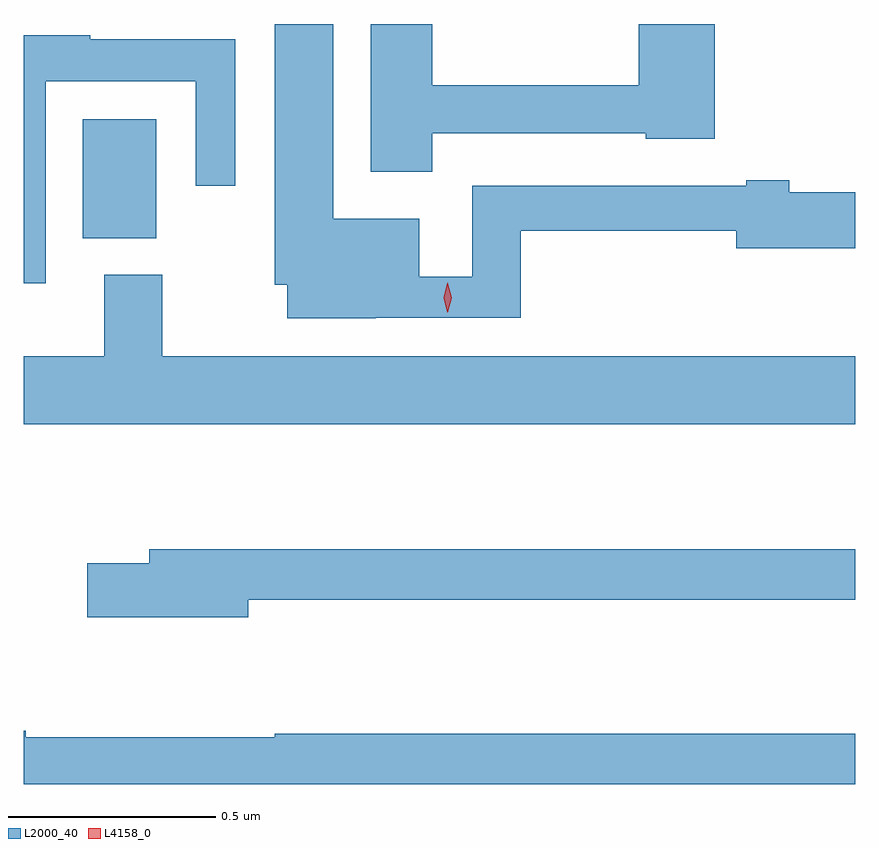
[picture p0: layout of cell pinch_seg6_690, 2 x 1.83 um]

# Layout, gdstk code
import gdstk
lib = gdstk.Library(unit=1e-6, precision=1e-09)
def R(c, l, rs):  # rectangles x0, y0, x1, y1
    for r in rs: c.add(gdstk.rectangle(r[:2], r[2:], *l))
def P(c, l, *ps):  # polygons
    for p in ps: c.add(gdstk.Polygon(p, *l))
L2000_40 = (2000, 40)
L4158_0 = (4158, 0)

pinch_seg6_690 = lib.new_cell('pinch_seg6_690')
R(pinch_seg6_690, L2000_40, [(468.578,922.475,468.754,922.762)])
P(pinch_seg6_690, L2000_40, [(469.283,922.284),(469.631,922.284),(469.631,922.494),(470.15,922.494),(470.15,922.451),(470.436,922.451),(470.436,922.586),(470.278,922.586),(470.278,922.615),(470.174,922.615),(470.174,922.602),(469.515,922.602),(469.515,922.383),(469.387,922.383),(469.387,922.522),(469.18,922.522),(469.18,922.991),(469.04,922.991),(469.04,922.364),(469.07,922.364),(469.07,922.283),(469.283,922.283)],
  [(469.418,922.728),(469.932,922.728),(469.932,922.715),(470.099,922.715),(470.099,922.991),(469.916,922.991),(469.916,922.844),(469.418,922.844),(469.418,922.991),(469.271,922.991),(469.271,922.635),(469.418,922.635)],
  [(468.489,922.853),(468.849,922.853),(468.849,922.602),(468.945,922.602),(468.945,922.954),(468.596,922.954),(468.596,922.964),(468.436,922.964),(468.436,922.367),(468.489,922.367)],
  [(470.436,922.192),(468.769,922.192),(468.769,922.387),(468.629,922.387),(468.629,922.192),(468.436,922.192),(468.436,922.028),(470.436,922.028)],
  [(468.976,921.606),(470.436,921.606),(470.436,921.727),(468.737,921.727),(468.737,921.693),(468.588,921.693),(468.588,921.563),(468.976,921.563)],
  [(470.436,921.283),(469.04,921.283),(469.04,921.275),(468.44,921.275),(468.44,921.29),(468.436,921.29),(468.436,921.162),(470.436,921.162)])
P(pinch_seg6_690, L4158_0, [(469.455,922.297),(469.446,922.332),(469.455,922.367),(469.456,922.368),(469.456,922.367),(469.466,922.332),(469.456,922.297),(469.456,922.297)])

lib.write_gds('pinch_seg6_690.gds')
